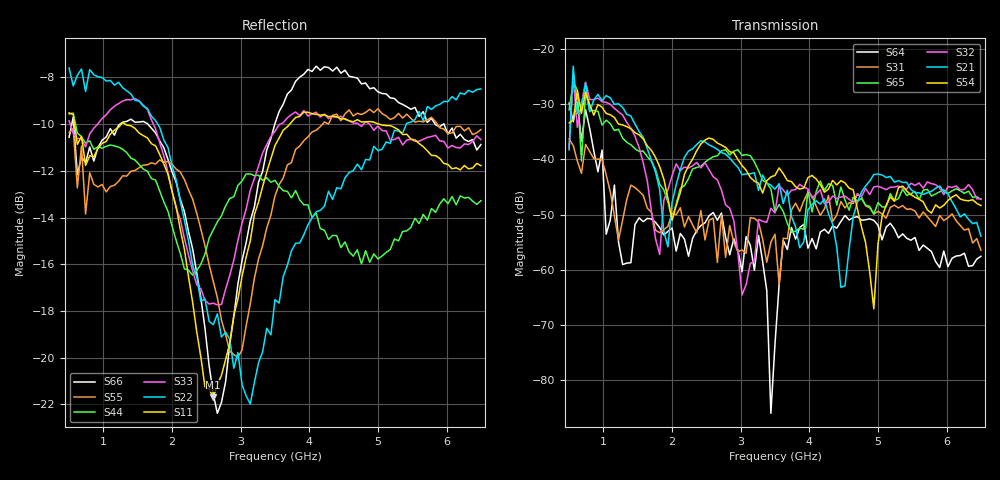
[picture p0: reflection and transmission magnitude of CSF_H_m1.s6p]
!Keysight Technologies,M9804A,MY58100912,A.14.10.03
!Date: Thursday, April 27, 2023 10:28:33
!Correction: S11(C  6-Port  )
!S12(C  6-Port  )
!S13(C  6-Port  )
!S14(C  6-Port  )
!S15(C  6-Port  )
!S16(C  6-Port  )
!S21(C  6-Port  )
!S22(C  6-Port  )
!S23(C  6-Port  )
!S24(C  6-Port  )
!S25(C  6-Port  )
!S26(C  6-Port  )
!S31(C  6-Port  )
!S32(C  6-Port  )
!S33(C  6-Port  )
!S34(C  6-Port  )
!S35(C  6-Port  )
!S36(C  6-Port  )
!S41(C  6-Port  )
!S42(C  6-Port  )
!S43(C  6-Port  )
!S44(C  6-Port  )
!S45(C  6-Port  )
!S46(C  6-Port  )
!S51(C  6-Port  )
!S52(C  6-Port  )
!S53(C  6-Port  )
!S54(C  6-Port  )
!S55(C  6-Port  )
!S56(C  6-Port  )
!S61(C  6-Port  )
!S62(C  6-Port  )
!S63(C  6-Port  )
!S64(C  6-Port  )
!S65(C  6-Port  )
!S66(C  6-Port  )
!S6P File: Measurement: :
# Hz S  RI  R 50
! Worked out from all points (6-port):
!   101 points, 500 MHz to 6.5 GHz, reference 50 ohm
!   strongest paths, dB at 500 MHz, 2 GHz, 3.5 GHz, 5 GHz, 6.5 GHz:
!     S54: -33.4, -51.0, -42.9, -55.4, -48.3
!     S21: -38.3, -47.8, -45.4, -42.6, -53.9
!     S32: -37.9, -42.9, -49.7, -44.8, -47.1
!     S65: -31.0, -50.8, -49.5, -47.8, -47.2
!     S31: -36.3, -49.8, -53.5, -49.4, -56.4
!     S64: -29.8, -52.4, -73.4, -51.9, -57.5
!   lowest |S11| = -21.7 dB at 2.6 GHz (marker M1), VSWR 1.18, Z = 42.6 + j1.98 ohm
!   |S11| at or under -10 dB: 579.1 MHz to 1.261 GHz (681.9 MHz wide, 74.1 % of centre); 1.316 GHz to 3.714 GHz (2.398 GHz wide, 95.3 % of centre); 5.016 GHz to end of sweep
